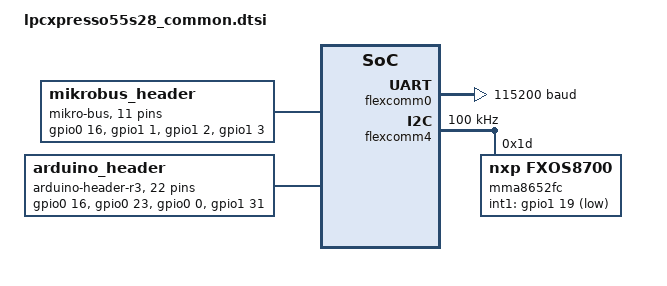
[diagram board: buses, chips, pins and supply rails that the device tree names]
/*
 * Copyright (c) 2020 Lemonbeat GmbH
 *
 * SPDX-License-Identifier: Apache-2.0
 */

#include "lpcxpresso55s28-pinctrl.dtsi"

/ {
	aliases{
		led0 = &red_led;
		led1 = &green_led;
		led2 = &blue_led;
		spi-8 = &hs_lspi;
		usart-0 = &flexcomm0;
		accel0 = &mma8652fc;
	};

	leds {
		compatible = "gpio-leds";
		green_led: led_1 {
			gpios = <&gpio1 7 0>;
			label = "User LD2";
			status = "disabled";
		};
		blue_led: led_2 {
			gpios = <&gpio1 4 0>;
			label = "User LD3";
			status = "disabled";
		};
		red_led: led_3 {
			gpios = <&gpio1 6 0>;
			label = "User LD4";
			status = "disabled";
		};
	};

	mikrobus_header: mikrobus-connector {
		compatible = "mikro-bus";
		#gpio-cells = <2>;
		gpio-map-mask = <0xffffffff 0xffffffc0>;
		gpio-map-pass-thru = <0 0x3f>;
		gpio-map =	<0 0 &gpio0 16 0>,	/* AN  */
				/* Not a GPIO*/		/* RST */
				<2 0 &gpio1 1 0>,	/* CS   */
				<3 0 &gpio1 2 0>,	/* SCK  */
				<4 0 &gpio1 3 0>,	/* MISO */
				<5 0 &gpio0 26 0>,	/* MOSI */
							/* +3.3V */
							/* GND */
				<6 0 &gpio1 5 0>,	/* PWM  */
				<7 0 &gpio1 18 0>,	/* INT  */
				<8 0 &gpio1 24 0>,	/* RX   */
				<9 0 &gpio0 27 0>,	/* TX   */
				<10 0 &gpio1 20 0>,	/* SCL  */
				<11 0 &gpio1 21 0>;	/* SDA  */
							/* +5V */
							/* GND */
	};

	arduino_header: arduino-connector {
		compatible = "arduino-header-r3";
		#gpio-cells = <2>;
		gpio-map-mask = <0xffffffff 0xffffffc0>;
		gpio-map-pass-thru = <0 0x3f>;
		gpio-map =	<0 0 &gpio0 16 0>,	/* A0 */
				<1 0 &gpio0 23 0>,	/* A1 */
				<2 0 &gpio0 0 0>,	/* A2 */
				<3 0 &gpio1 31 0>,	/* A3 */
				<4 0 &gpio0 13 0>,	/* A4 */
				<5 0 &gpio0 14 0>,	/* A5 */
				<6 0 &gpio1 24 0>,	/* D0 */
				<7 0 &gpio0 27 0>,	/* D1 */
				<8 0 &gpio0 15 0>,	/* D2 */
				<9 0 &gpio1 6 0>,	/* D3 */
				<10 0 &gpio1 7 0>,	/* D4 */
				<11 0 &gpio1 4 0>,	/* D5 */
				<12 0 &gpio1 10 0>,	/* D6 */
				<13 0 &gpio1 9 0>,	/* D7 */
				<14 0 &gpio1 8 0>,	/* D8 */
				<15 0 &gpio1 5 0>,	/* D9 */
				<16 0 &gpio1 1 0>,	/* D10 */
				<17 0 &gpio0 26 0>,	/* D11 */
				<18 0 &gpio1 3 0>,	/* D12 */
				<19 0 &gpio1 2 0>,	/* D13 */
				<20 0 &gpio1 21 0>,	/* D14 */
				<21 0 &gpio1 20 0>;	/* D15 */
	};
};

&flexcomm0 {
	compatible = "nxp,lpc-usart";
	current-speed = <115200>;
	pinctrl-0 = <&pinmux_flexcomm0_usart>;
	pinctrl-names = "default";
	dmas = <&dma0 4>, <&dma0 5>;
	dma-names = "rx", "tx";
};

arduino_i2c: &flexcomm4 {
	compatible = "nxp,lpc-i2c";
	clock-frequency = <I2C_BITRATE_STANDARD>;
	#address-cells = <1>;
	#size-cells = <0>;
	pinctrl-0 = <&pinmux_flexcomm4_i2c>;
	pinctrl-names = "default";

	mma8652fc: mma8652fc@1d {
		compatible = "nxp,fxos8700","nxp,mma8652fc";
		reg = <0x1d>;
		int1-gpios = <&gpio1 19 (GPIO_ACTIVE_LOW | GPIO_PULL_UP)>;
	};
};

arduino_spi: &hs_lspi {
	pinctrl-0 = <&pinmux_hs_lspi>;
	pinctrl-names = "default";
};

arduino_gpio: &gpio1 {
};

mikrobus_spi: &hs_lspi {
};
